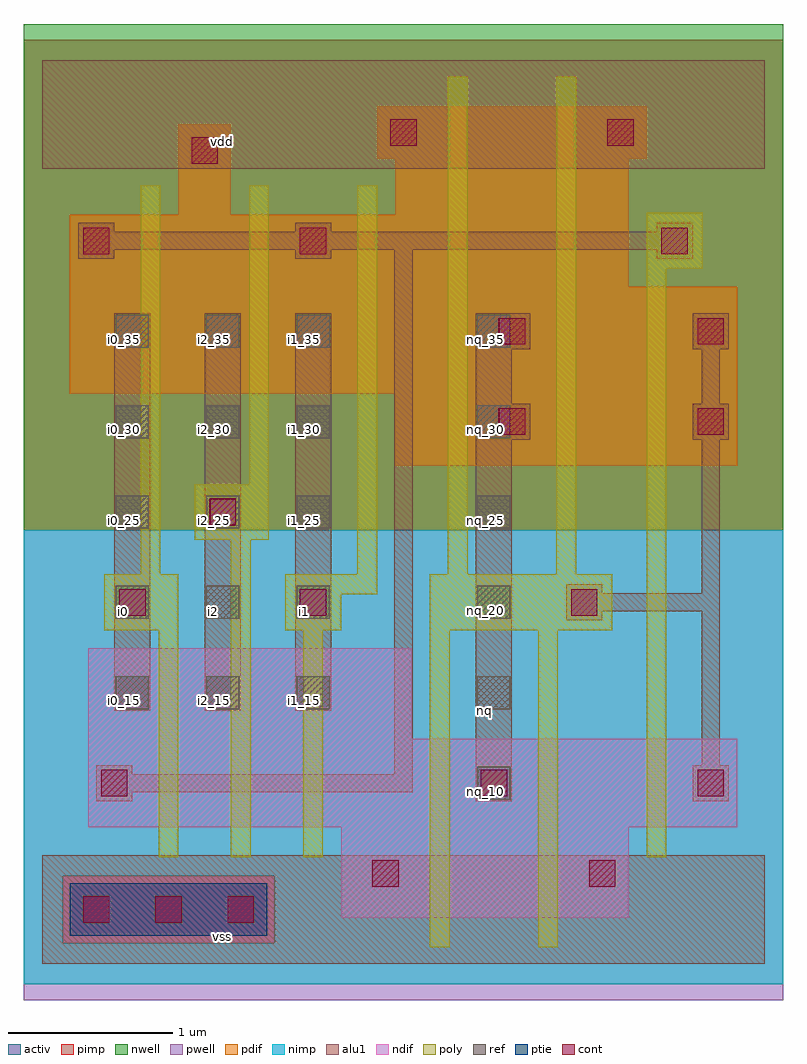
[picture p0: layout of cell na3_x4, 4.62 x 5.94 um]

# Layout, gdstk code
import gdstk
lib = gdstk.Library(unit=1e-6, precision=2.5e-09)
def R(c, l, rs):  # rectangles x0, y0, x1, y1
    for r in rs: c.add(gdstk.rectangle(r[:2], r[2:], *l))
def A(c, l, x, y, w, h, nx, ny, dx, dy):  # array of equal rectangles
    R(c, l, [(x+i*dx, y+j*dy, x+i*dx+w, y+j*dy+h) for i in range(nx) for j in range(ny)])
ndif = (3, 0)
pdif = (4, 0)
ptie = (6, 0)
ref = (24, 0)
cont = (25, 0)
pwell = (41, 0)
nwell = (42, 0)
activ = (43, 0)
pimp = (44, 0)
nimp = (45, 0)
poly = (46, 0)
alu1 = (49, 0)

na3_x4 = lib.new_cell('na3_x4')
R(na3_x4, ndif, [(1.82,0.28,3.57,0.83), (1.82,0.28,3.57,0.83), (0.28,0.83,4.23,1.37), (0.28,0.83,4.23,1.37), (0.28,1.37,2.25,1.92), (0.28,1.37,2.25,1.92)])
R(na3_x4, pdif, [(2.15,3.03,4.23,3.47), (2.15,3.03,4.23,3.47), (0.17,3.47,4.23,4.12), (0.17,3.47,4.23,4.12), (0.17,4.12,3.57,4.56), (0.17,4.12,3.57,4.56), (0.83,4.56,1.15,5.11), (0.83,4.56,1.15,5.11), (2.15,4.56,3.57,4.9), (2.15,4.56,3.57,4.9), (2.04,4.9,3.68,5.22), (2.04,4.9,3.68,5.22)])
R(na3_x4, ptie, [(0.17,0.17,1.37,0.49), (0.17,0.17,1.37,0.49)])
A(na3_x4, ref, 2.65, 1, 0.2, 0.2, 1, 6, 0, 0.55)
A(na3_x4, ref, 0.45, 1.55, 0.2, 0.2, 3, 5, 0.55, 0.55)
A(na3_x4, cont, 0.25, 0.25, 0.16, 0.16, 3, 1, 0.44, 0)
R(na3_x4, cont, [(2.01,0.47,2.17,0.63), (3.33,0.47,3.49,0.63), (0.36,1.02,0.52,1.18), (2.67,1.02,2.83,1.18), (3.99,1.02,4.15,1.18), (0.47,2.12,0.63,2.28), (1.57,2.12,1.73,2.28), (3.22,2.12,3.38,2.28), (1.02,2.67,1.18,2.83), (2.78,3.22,2.94,3.38), (3.99,3.22,4.15,3.38), (2.78,3.77,2.94,3.93), (3.99,3.77,4.15,3.93), (0.25,4.32,0.41,4.48), (1.57,4.32,1.73,4.48), (3.77,4.32,3.93,4.48), (0.91,4.87,1.07,5.03), (2.12,4.98,2.28,5.14), (3.44,4.98,3.6,5.14)])
R(na3_x4, pwell, [(-0.11,-0.22,4.51,2.64)])
R(na3_x4, nwell, [(-0.11,2.64,4.51,5.72)])
R(na3_x4, activ, [(0.17,0.17,1.37,0.49), (0.17,0.17,1.37,0.49), (1.82,0.28,3.57,0.83), (1.82,0.28,3.57,0.83), (0.28,0.83,4.23,1.37), (0.28,0.83,4.23,1.37), (0.28,1.37,2.25,1.92), (0.28,1.37,2.25,1.92), (2.15,3.03,4.23,3.47), (2.15,3.03,4.23,3.47), (0.17,3.47,4.23,4.12), (0.17,3.47,4.23,4.12), (0.17,4.12,3.57,4.56), (0.17,4.12,3.57,4.56), (0.83,4.56,1.15,5.11), (0.83,4.56,1.15,5.11), (2.15,4.56,3.57,4.9), (2.15,4.56,3.57,4.9), (2.04,4.9,3.68,5.22), (2.04,4.9,3.68,5.22)])
R(na3_x4, pimp, [(0.125,0.125,1.415,0.535), (-0.11,2.64,4.51,5.625)])
R(na3_x4, nimp, [(-0.11,-0.125,4.51,0.125), (-0.11,0.125,0.125,0.535), (1.415,0.125,4.51,0.535), (-0.11,0.535,4.51,2.64)])
R(na3_x4, poly, [(2.36,0.1,2.48,2.03), (3.02,0.1,3.14,2.03), (0.71,0.65,0.83,2.03), (1.15,0.65,1.27,2.58), (1.59,0.65,1.71,2.03), (3.68,0.65,3.8,4.23), (0.38,2.03,0.83,2.37), (1.48,2.03,1.82,2.25), (2.36,2.03,3.47,2.37), (1.48,2.25,2.04,2.37), (0.6,2.37,0.72,4.74), (1.92,2.37,2.04,4.74), (2.47,2.37,2.59,5.4), (3.13,2.37,3.25,5.4), (0.93,2.58,1.38,2.92), (1.26,2.92,1.38,4.74), (3.68,4.23,4.02,4.57)])
A(na3_x4, alu1, 0.44, 1.54, 0.22, 2.42, 3, 1, 0.55, 0)
R(na3_x4, alu1, [(0,0,4.4,0.66), (0.33,0.99,0.55,1.045), (2.64,0.99,2.86,3.19), (3.96,0.99,4.18,1.21), (0.33,1.045,2.255,1.155), (0.33,1.155,0.55,1.21), (2.145,1.155,2.255,4.345), (4.015,1.21,4.125,2.145), (3.19,2.09,3.41,2.145), (3.19,2.145,4.125,2.255), (3.19,2.255,3.41,2.31), (4.015,2.255,4.125,3.19), (2.64,3.19,2.97,3.41), (3.96,3.19,4.18,3.41), (2.64,3.41,2.86,3.74), (4.015,3.41,4.125,3.74), (2.64,3.74,2.97,3.96), (3.96,3.74,4.18,3.96), (0.22,4.29,0.44,4.345), (1.54,4.29,1.76,4.345), (3.74,4.29,3.96,4.345), (0.22,4.345,3.96,4.455), (0.22,4.455,0.44,4.51), (1.54,4.455,1.76,4.51), (3.74,4.455,3.96,4.51), (0,4.84,4.4,5.5)])
na3_x4.add(gdstk.Label('vss', (1.1,0.165), layer=49, texttype=0))
na3_x4.add(gdstk.Label('nq', (2.695,1.54), layer=49, texttype=0))
na3_x4.add(gdstk.Label('i1', (1.595,2.145), layer=49, texttype=0))
na3_x4.add(gdstk.Label('i2', (1.045,2.145), layer=49, texttype=0))
na3_x4.add(gdstk.Label('i0', (0.495,2.145), layer=49, texttype=0))
na3_x4.add(gdstk.Label('vdd', (1.1,5.005), layer=49, texttype=0))
na3_x4.add(gdstk.Label('i2_15', (1.05,1.6), layer=24, texttype=0))
na3_x4.add(gdstk.Label('i2_20', (1.05,2.15), layer=24, texttype=0))
na3_x4.add(gdstk.Label('i2_25', (1.05,2.7), layer=24, texttype=0))
na3_x4.add(gdstk.Label('i2_30', (1.05,3.25), layer=24, texttype=0))
na3_x4.add(gdstk.Label('i2_35', (1.05,3.8), layer=24, texttype=0))
na3_x4.add(gdstk.Label('nq_35', (2.7,3.8), layer=24, texttype=0))
na3_x4.add(gdstk.Label('nq_30', (2.7,3.25), layer=24, texttype=0))
na3_x4.add(gdstk.Label('nq_25', (2.7,2.7), layer=24, texttype=0))
na3_x4.add(gdstk.Label('nq_20', (2.7,2.15), layer=24, texttype=0))
na3_x4.add(gdstk.Label('nq_15', (2.7,1.6), layer=24, texttype=0))
na3_x4.add(gdstk.Label('nq_10', (2.7,1.05), layer=24, texttype=0))
na3_x4.add(gdstk.Label('i1_15', (1.6,1.6), layer=24, texttype=0))
na3_x4.add(gdstk.Label('i1_20', (1.6,2.15), layer=24, texttype=0))
na3_x4.add(gdstk.Label('i1_25', (1.6,2.7), layer=24, texttype=0))
na3_x4.add(gdstk.Label('i0_25', (0.5,2.7), layer=24, texttype=0))
na3_x4.add(gdstk.Label('i0_20', (0.5,2.15), layer=24, texttype=0))
na3_x4.add(gdstk.Label('i0_15', (0.5,1.6), layer=24, texttype=0))
na3_x4.add(gdstk.Label('i0_35', (0.5,3.8), layer=24, texttype=0))
na3_x4.add(gdstk.Label('i0_30', (0.5,3.25), layer=24, texttype=0))
na3_x4.add(gdstk.Label('i1_35', (1.6,3.8), layer=24, texttype=0))
na3_x4.add(gdstk.Label('i1_30', (1.6,3.25), layer=24, texttype=0))

lib.write_gds('na3_x4.gds')
